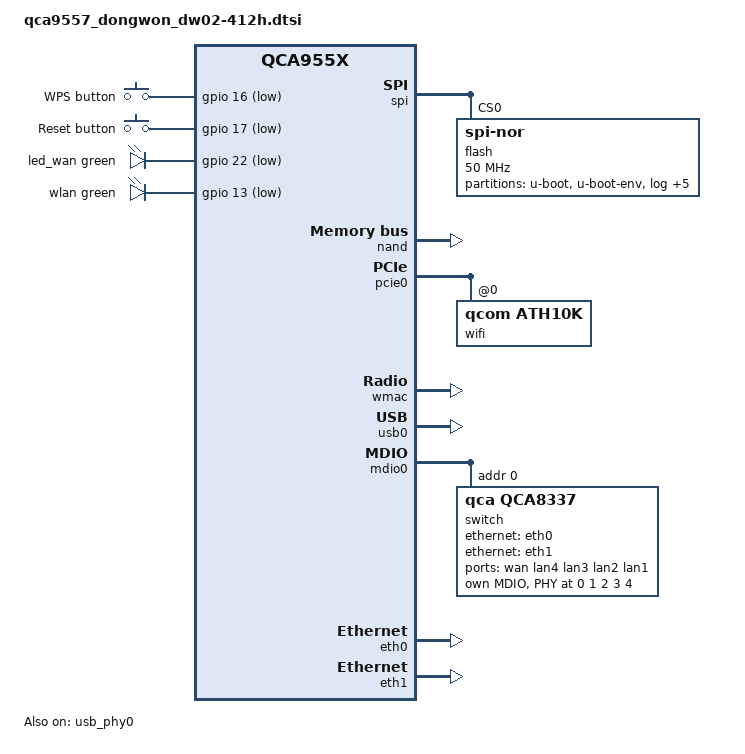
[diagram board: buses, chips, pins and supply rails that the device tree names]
// SPDX-License-Identifier: GPL-2.0-or-later OR MIT
// Abdulkader Alrezej , alrazj.abdulkader@gmail.com

#include "qca955x.dtsi"

#include <dt-bindings/gpio/gpio.h>
#include <dt-bindings/input/input.h>
#include <dt-bindings/leds/common.h>

/ {
	aliases {
		led-boot = &led_wan;
		led-failsafe = &led_wan;
		led-upgrade = &led_wan;
	};

	keys {
		compatible = "gpio-keys";

		wps {
			label = "WPS button";
			gpios = <&gpio 16 GPIO_ACTIVE_LOW>;
			linux,code = <KEY_WPS_BUTTON>;
		};

		reset {
			label = "Reset button";
			gpios = <&gpio 17 GPIO_ACTIVE_LOW>;
			linux,code = <KEY_RESTART>;
		};
	};

	leds {
		compatible = "gpio-leds";

		led_wan: wan {
			function = LED_FUNCTION_WAN;
			color = <LED_COLOR_ID_GREEN>;
			gpios = <&gpio 22 GPIO_ACTIVE_LOW>;
		};

		wlan {
			function = LED_FUNCTION_WLAN;
			color = <LED_COLOR_ID_GREEN>;
			gpios = <&gpio 13 GPIO_ACTIVE_LOW>;
		};
	};
};

&spi {
	status = "okay";

	flash@0 {
		compatible = "jedec,spi-nor";
		reg = <0>;
		spi-max-frequency = <50000000>;

		partitions {
			compatible = "fixed-partitions";
			#address-cells = <1>;
			#size-cells = <1>;

			partition@0 {
				label = "u-boot";
				reg = <0x000000 0x040000>;
				read-only;
			};

			partition@40000 {
				label = "u-boot-env";
				reg = <0x040000 0x010000>;
			};

			partition@50000 {
				label = "log";
				reg = <0x050000 0x010000>;
				read-only;
			};

			partition@60000 {
				label = "recoverk";
				reg = <0x060000 0x0e0000>;
				read-only;
			};

			partition@140000 {
				label = "recoverr";
				reg = <0x140000 0x090000>;
				read-only;
			};

			partition@1d0000 {
				label = "nvram";
				reg = <0x1d0000 0x010000>;
				read-only;
			};

			partition@1e0000 {
				label = "nvbackup";
				reg = <0x1e0000 0x010000>;
				read-only;
			};

			partition@1f0000 {
				label = "art";
				reg = <0x1f0000 0x010000>;
				read-only;

				nvmem-layout {
					compatible = "fixed-layout";
					#address-cells = <1>;
					#size-cells = <1>;

					macaddr_art_0: macaddr@0 {
						compatible = "mac-base";
						reg = <0x0 0x6>;
						#nvmem-cell-cells = <1>;
					};

					cal_art_1000: cal@1000 {
						reg = <0x1000 0x440>;
					};

					cal_art_5000: cal@5000 {
						reg = <0x5000 0x844>;
					};
				};
			};
		};
	};
};

&nand {
	status = "okay";

	partitions {
		compatible = "fixed-partitions";
		#address-cells = <1>;
		#size-cells = <1>;

		partition@0 {
			label = "current";
			reg = <0x0 0x1000000>;
			read-only;
		};

		partition@1000000 {
			label = "kernel";
			reg = <0x1000000 0x800000>;
		};

		ubi: partition@1800000 {
			label = "ubi";
		};
	};
};

&pcie0 {
	status = "okay";

	wifi@0,0 {
		compatible = "qcom,ath10k";
		reg = <0 0 0 0 0>;

		nvmem-cells = <&macaddr_art_0 4>, <&cal_art_5000>;
		nvmem-cell-names = "mac-address", "calibration";
	};
};

&wmac {
	status = "okay";

	nvmem-cells = <&macaddr_art_0 3>, <&cal_art_1000>;
	nvmem-cell-names = "mac-address", "calibration";
};

&usb_phy0 {
	status = "okay";
};

&usb0 {
	status = "okay";
};

&mdio0 {
	status = "okay";

	switch@0 {
		compatible = "qca,qca8337";
		reg = <0>;

		ports {
			#address-cells = <1>;
			#size-cells = <0>;

			port@0 {
				reg = <0>;

				ethernet = <&eth0>;
				phy-mode = "rgmii-id";

				fixed-link {
					speed = <1000>;
					full-duplex;
				};
			};

			port@1 {
				reg = <1>;
				label = "wan";
				phy-mode = "internal";
				phy-handle = <&phy4>;
			};

			port@2 {
				reg = <2>;
				label = "lan4";
				phy-mode = "internal";
				phy-handle = <&phy3>;
			};

			port@3 {
				reg = <3>;
				label = "lan3";
				phy-mode = "internal";
				phy-handle = <&phy2>;
			};

			port@4 {
				reg = <4>;
				label = "lan2";
				phy-mode = "internal";
				phy-handle = <&phy1>;
			};

			port@5 {
				reg = <5>;
				label = "lan1";
				phy-mode = "internal";
				phy-handle = <&phy0>;
			};

			port@6 {
				reg = <6>;

				ethernet = <&eth1>;
				phy-mode = "sgmii";
				qca,sgmii-enable-pll;

				fixed-link {
					speed = <1000>;
					full-duplex;
				};
			};
		};

		mdio {
			#address-cells = <1>;
			#size-cells = <0>;

			phy0: ethernet-phy@0 {
				reg = <0>;
			};

			phy1: ethernet-phy@1 {
				reg = <1>;
			};

			phy2: ethernet-phy@2 {
				reg = <2>;
			};

			phy3: ethernet-phy@3 {
				reg = <3>;
			};

			phy4: ethernet-phy@4 {
				reg = <4>;
			};
		};
	};
};

&eth0 {
	status = "okay";

	nvmem-cells = <&macaddr_art_0 1>;
	nvmem-cell-names = "mac-address";
	pll-data = <0xa6000000 0x00000101 0x00001616>;

	gmac-config {
		device = <&gmac>;
		rgmii-enabled = <1>;
	};
};

&eth1 {
	status = "okay";

	qca955x-sgmii-fixup;
	pll-data = <0x03000101 0x00000101 0x00001616>;

	nvmem-cells = <&macaddr_art_0 2>;
	nvmem-cell-names = "mac-address";
};
